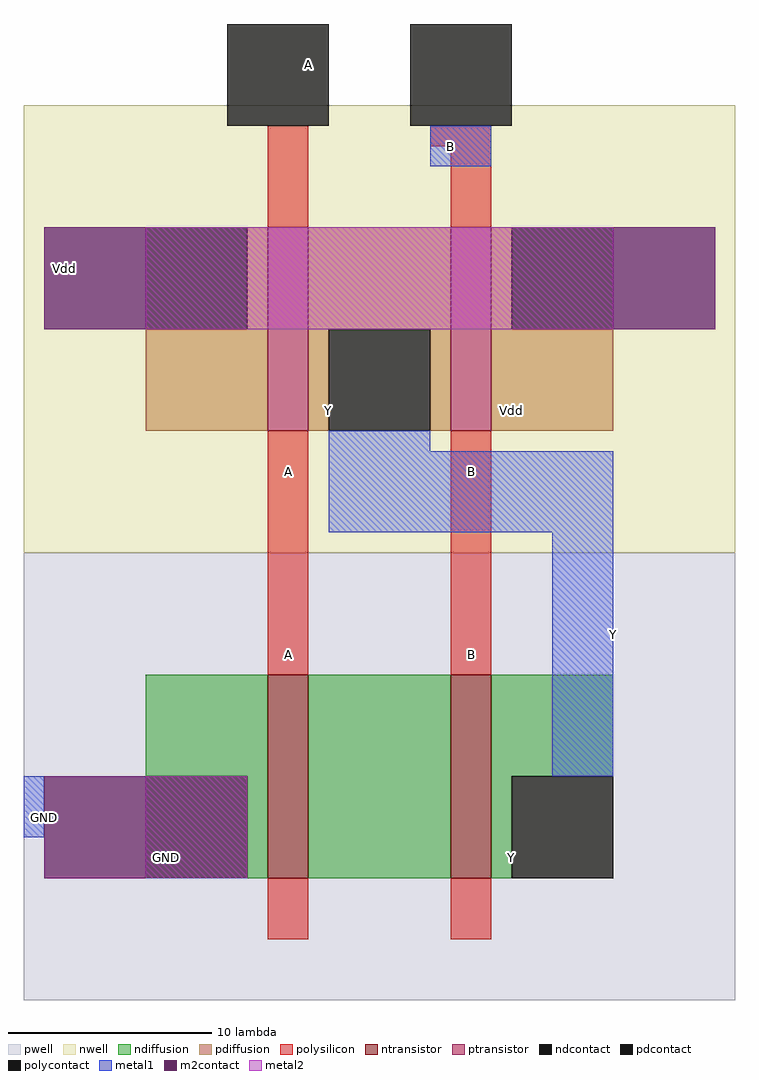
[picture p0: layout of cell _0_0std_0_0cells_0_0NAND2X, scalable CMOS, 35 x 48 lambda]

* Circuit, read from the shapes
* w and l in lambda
.subckt _0_0std_0_0cells_0_0NAND2X GND Vdd B Y A
M1 n1 A GND VSUBS nfet w=10 l=2
M2 Y B n1 VSUBS nfet w=10 l=2
M3 Y A Vdd n2 pfet w=10 l=2
M4 Vdd B Y n2 pfet w=10 l=2
.ends

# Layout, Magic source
magic
tech scmos
<< nwell >>
rect 2 27 37 49
<< pwell >>
rect 2 5 37 27
<< ntransistor >>
rect 14 11 16 21
rect 23 11 25 21
<< ptransistor >>
rect 14 33 16 43
rect 23 33 25 43
<< ndiffusion >>
rect 8 16 14 21
rect 13 11 14 16
rect 16 11 23 21
rect 25 16 31 21
rect 25 11 26 16
<< pdiffusion >>
rect 13 38 14 43
rect 8 33 14 38
rect 16 38 23 43
rect 16 33 17 38
rect 22 33 23 38
rect 25 38 26 43
rect 25 33 31 38
<< ndcontact >>
rect 8 11 13 16
rect 26 11 31 16
<< pdcontact >>
rect 8 38 13 43
rect 17 33 22 38
rect 26 38 31 43
<< polysilicon >>
rect 14 43 16 48
rect 22 47 25 48
rect 23 43 25 47
rect 14 21 16 33
rect 23 21 25 33
rect 14 8 16 11
rect 23 8 25 11
<< polycontact >>
rect 12 48 17 53
rect 21 48 26 53
<< metal1 >>
rect 22 46 25 48
rect 17 32 22 33
rect 17 28 31 32
rect 28 16 31 28
rect 2 13 3 16
<< m2contact >>
rect 3 38 8 43
rect 31 38 36 43
rect 3 11 8 16
<< metal2 >>
rect 8 38 31 43
rect 8 11 13 16
<< labels >>
rlabel ndiffusion 26 12 26 12 3 Y
rlabel pdiffusion 26 34 26 34 3 Vdd
rlabel polysilicon 24 22 24 22 3 B
rlabel pdiffusion 17 34 17 34 3 Y
rlabel polysilicon 15 22 15 22 3 A
rlabel polysilicon 24 31 24 31 3 B
rlabel polysilicon 15 31 15 31 3 A
rlabel metal1 31 23 31 23 3 Y
port 4 e
rlabel ndcontact 9 12 9 12 3 GND
rlabel m2contact 4 41 4 41 3 Vdd
port 2 e
rlabel metal1 3 14 3 14 3 GND
port 1 e
rlabel metal1 23 47 23 47 3 B
port 3 e
rlabel polycontact 16 51 16 51 3 A
port 5 e
<< end >>
